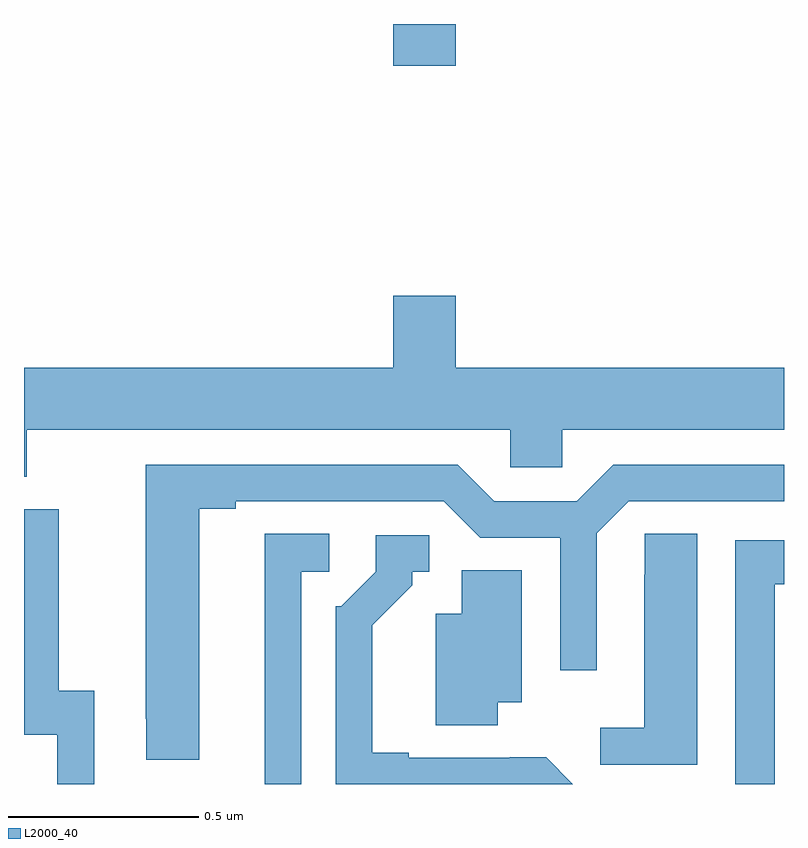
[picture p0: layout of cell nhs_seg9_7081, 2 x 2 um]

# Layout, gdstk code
import gdstk
lib = gdstk.Library(unit=1e-6, precision=1e-09)
def R(c, l, rs):  # rectangles x0, y0, x1, y1
    for r in rs: c.add(gdstk.rectangle(r[:2], r[2:], *l))
def P(c, l, *ps):  # polygons
    for p in ps: c.add(gdstk.Polygon(p, *l))
L2000_40 = (2000, 40)

nhs_seg9_7081 = lib.new_cell('nhs_seg9_7081')
R(nhs_seg9_7081, L2000_40, [(200.972,1185.39,201.136,1185.5)])
P(nhs_seg9_7081, L2000_40, [(200.007,1184.432),(201.279,1184.432),(201.279,1184.334),(201.417,1184.334),(201.417,1184.432),(202,1184.432),(202,1184.596),(201.136,1184.596),(201.136,1184.785),(200.972,1184.785),(200.972,1184.596),(200,1184.596),(200,1184.308),(200.007,1184.308)],
  [(200.461,1184.224),(200.557,1184.224),(200.557,1184.244),(201.105,1184.244),(201.201,1184.148),(201.411,1184.148),(201.411,1183.8),(201.507,1183.8),(201.507,1184.16),(201.591,1184.244),(202,1184.244),(202,1184.34),(201.551,1184.34),(201.455,1184.244),(201.237,1184.244),(201.141,1184.34),(200.321,1184.34),(200.321,1183.672),(200.322,1183.672),(200.322,1183.564),(200.461,1183.564)],
  [(200.185,1183.745),(200.091,1183.745),(200.091,1184.223),(200,1184.223),(200,1183.629),(200.088,1183.629),(200.088,1183.5),(200.185,1183.5)],
  [(201.772,1184.159),(201.633,1184.159),(201.633,1184.051),(201.632,1184.051),(201.632,1183.648),(201.516,1183.648),(201.516,1183.551),(201.772,1183.551)],
  [(200.73,1184.058),(200.803,1184.058),(200.803,1184.159),(200.633,1184.159),(200.633,1183.5),(200.73,1183.5)],
  [(201.374,1183.57),(201.278,1183.57),(201.278,1183.569),(201.013,1183.569),(201.013,1183.582),(200.917,1183.582),(200.917,1183.918),(201.022,1184.023),(201.022,1184.058),(201.067,1184.058),(201.067,1184.154),(200.925,1184.154),(200.925,1184.058),(200.835,1183.968),(200.82,1183.968),(200.82,1183.5),(201.444,1183.5)],
  [(201.976,1184.026),(202,1184.026),(202,1184.142),(201.872,1184.142),(201.872,1183.5),(201.976,1183.5)],
  [(201.247,1183.715),(201.31,1183.715),(201.31,1184.063),(201.152,1184.063),(201.152,1183.948),(201.083,1183.948),(201.083,1183.654),(201.247,1183.654)])

lib.write_gds('nhs_seg9_7081.gds')
